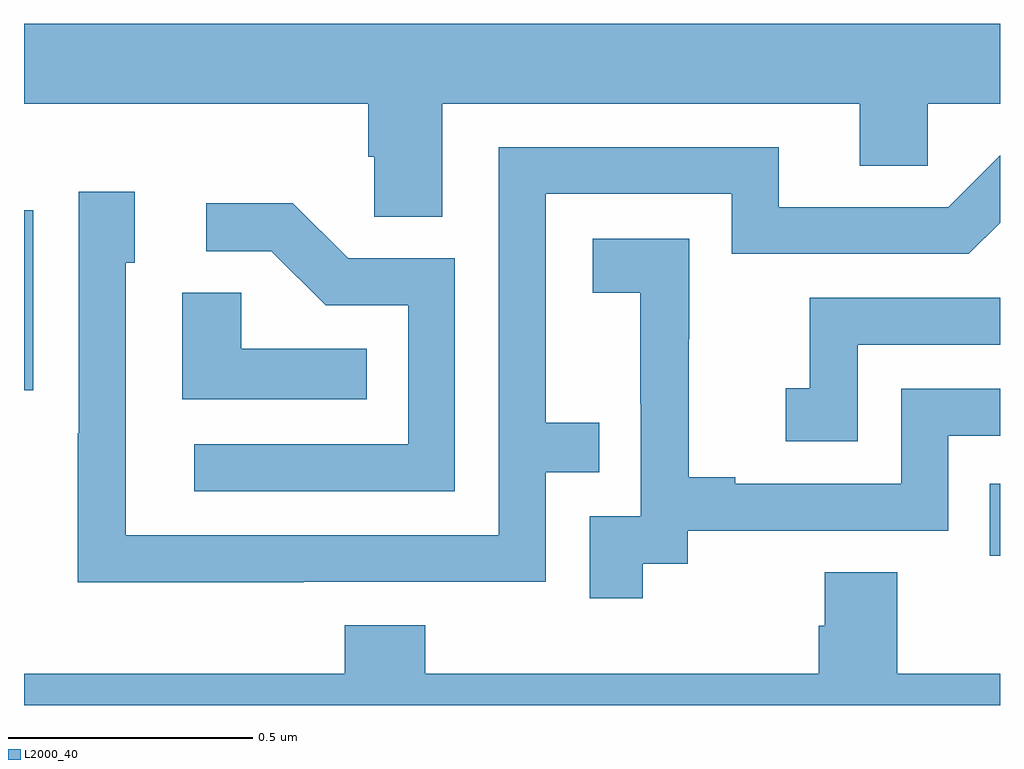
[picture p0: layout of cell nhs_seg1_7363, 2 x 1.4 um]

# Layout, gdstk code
import gdstk
lib = gdstk.Library(unit=1e-6, precision=1e-09)
def R(c, l, rs):  # rectangles x0, y0, x1, y1
    for r in rs: c.add(gdstk.rectangle(r[:2], r[2:], *l))
def P(c, l, *ps):  # polygons
    for p in ps: c.add(gdstk.Polygon(p, *l))
L2000_40 = (2000, 40)

nhs_seg1_7363 = lib.new_cell('nhs_seg1_7363')
R(nhs_seg1_7363, L2000_40, [(204.979,517.506,205,517.653), (203,517.845,203.019,518.214)])
P(nhs_seg1_7363, L2000_40, [(203.857,518.432),(204.713,518.432),(204.713,518.305),(204.852,518.305),(204.852,518.432),(205,518.432),(205,518.596),(203,518.596),(203,518.432),(203.705,518.432),(203.705,518.323),(203.718,518.323),(203.718,518.2),(203.857,518.2)],
  [(203.573,517.452),(204.069,517.452),(204.069,517.677),(204.179,517.677),(204.179,517.778),(204.069,517.778),(204.069,518.247),(204.45,518.247),(204.45,518.124),(204.936,518.124),(205,518.188),(205,518.326),(204.894,518.22),(204.547,518.22),(204.547,518.343),(203.973,518.343),(203.973,517.548),(203.208,517.548),(203.208,518.106),(203.227,518.106),(203.227,518.251),(203.112,518.251),(203.112,517.757),(203.11,517.757),(203.11,517.451),(203.573,517.451)],
  [(203.883,518.115),(203.664,518.115),(203.551,518.228),(203.373,518.228),(203.373,518.13),(203.507,518.13),(203.618,518.019),(203.787,518.019),(203.787,517.734),(203.349,517.734),(203.349,517.638),(203.883,517.638)],
  [(204.268,517.489),(204.36,517.489),(204.36,517.557),(204.894,517.557),(204.894,517.752),(205,517.752),(205,517.848),(204.798,517.848),(204.798,517.653),(204.457,517.653),(204.457,517.666),(204.362,517.666),(204.362,517.949),(204.363,517.949),(204.363,518.155),(204.165,518.155),(204.165,518.045),(204.263,518.045),(204.263,517.817),(204.264,517.817),(204.264,517.587),(204.159,517.587),(204.159,517.419),(204.268,517.419)],
  [(203.702,517.93),(203.445,517.93),(203.445,518.045),(203.324,518.045),(203.324,517.826),(203.702,517.826)],
  [(204.708,517.938),(205,517.938),(205,518.034),(204.61,518.034),(204.61,517.849),(204.561,517.849),(204.561,517.74),(204.708,517.74)],
  [(205,517.264),(204.789,517.264),(204.789,517.472),(204.641,517.472),(204.641,517.362),(204.629,517.362),(204.629,517.264),(203.822,517.264),(203.822,517.363),(203.657,517.363),(203.657,517.264),(203,517.264),(203,517.199),(205,517.199)])

lib.write_gds('nhs_seg1_7363.gds')
